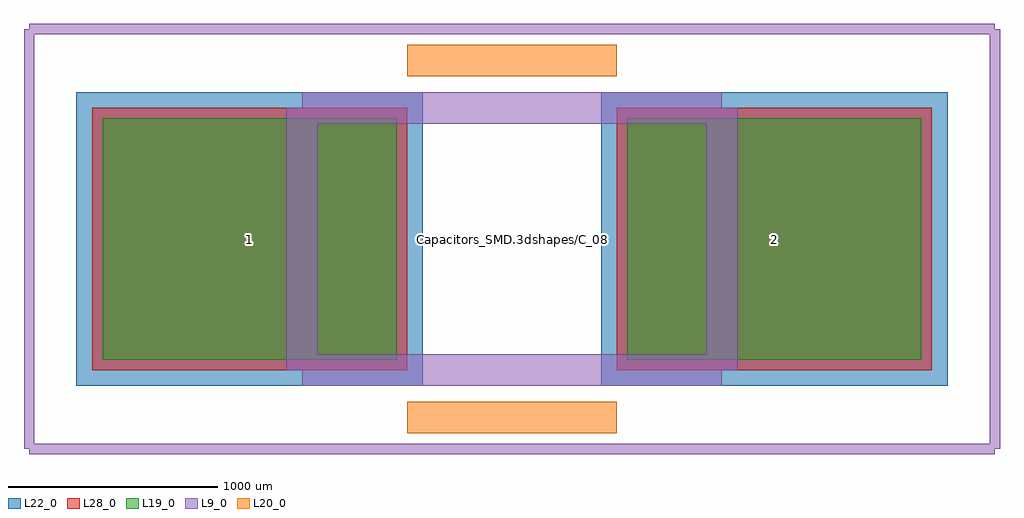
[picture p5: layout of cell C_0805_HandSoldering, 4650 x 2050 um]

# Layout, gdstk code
import gdstk
lib = gdstk.Library(unit=1e-6, precision=1e-09)
def R(c, l, rs):  # rectangles x0, y0, x1, y1
    for r in rs: c.add(gdstk.rectangle(r[:2], r[2:], *l))
L9_0 = (9, 0)
L19_0 = (19, 0)
L20_0 = (20, 0)
L22_0 = (22, 0)
L28_0 = (28, 0)

c_0805_handsoldering = lib.new_cell('C_0805_HandSoldering')
R(c_0805_handsoldering, L19_0, [(-1950,-575,-550,575), (550,-575,1950,575)])
R(c_0805_handsoldering, L22_0, [(-2075,-700,-425,700), (425,-700,2075,700)])
R(c_0805_handsoldering, L28_0, [(-2000,-625,-500,625), (500,-625,2000,625)])
c_0805_handsoldering.add(gdstk.FlexPath([(-500,-850),(500,-850)], 149.998, ends="flush", simple_path=True, layer=20, datatype=0))  # L20_0
c_0805_handsoldering.add(gdstk.FlexPath([(500,850),(-500,850)], 149.998, ends="flush", simple_path=True, layer=20, datatype=0))  # L20_0
c_0805_handsoldering.add(gdstk.FlexPath([(2300,1000),(2300,-1000)], 50, ends="flush", simple_path=True, layer=9, datatype=0))  # L9_0
c_0805_handsoldering.add(gdstk.FlexPath([(-2300,1000),(-2300,-1000)], 50, ends="flush", simple_path=True, layer=9, datatype=0))  # L9_0
c_0805_handsoldering.add(gdstk.FlexPath([(-2300,-1000),(2300,-1000)], 50, ends="flush", simple_path=True, layer=9, datatype=0))  # L9_0
c_0805_handsoldering.add(gdstk.FlexPath([(-2300,1000),(2300,1000)], 50, ends="flush", simple_path=True, layer=9, datatype=0))  # L9_0
c_0805_handsoldering.add(gdstk.FlexPath([(-1000,625),(1000,625)], 149.998, ends="flush", simple_path=True, layer=9, datatype=0))  # L9_0
c_0805_handsoldering.add(gdstk.FlexPath([(1000,625),(1000,-625)], 149.998, ends="flush", simple_path=True, layer=9, datatype=0))  # L9_0
c_0805_handsoldering.add(gdstk.FlexPath([(1000,-625),(-1000,-625)], 149.998, ends="flush", simple_path=True, layer=9, datatype=0))  # L9_0
c_0805_handsoldering.add(gdstk.FlexPath([(-1000,-625),(-1000,625)], 149.998, ends="flush", simple_path=True, layer=9, datatype=0))  # L9_0
c_0805_handsoldering.add(gdstk.Label('Capacitors_SMD.3dshapes/C_0805_HandSoldering.wrl', (0,0), layer=12, texttype=0))
c_0805_handsoldering.add(gdstk.Label('2', (1250,0), layer=28, texttype=0))
c_0805_handsoldering.add(gdstk.Label('1', (-1250,0), layer=28, texttype=0))
c_0805_handsoldering.add(gdstk.Label('type', (0,-2100), layer=9, texttype=0))
c_0805_handsoldering.add(gdstk.Label('devicename', (0,2100), layer=9, texttype=0))

lib.write_gds('C_0805_HandSoldering.gds')
